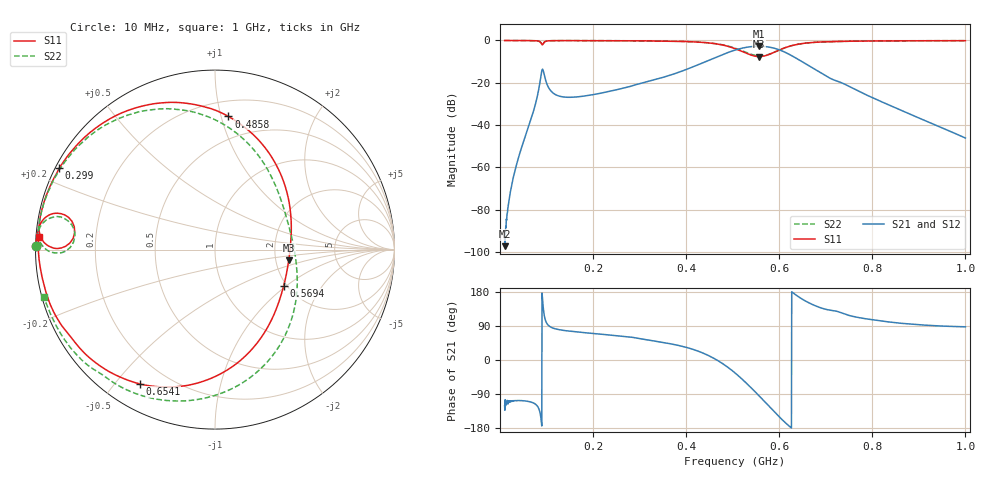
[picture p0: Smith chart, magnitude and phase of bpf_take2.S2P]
!Agilent Technologies,E5071C,MY46101273,A.11.02
!Date: Sun Oct 15 21:04:36 2017
!Data & Calibration Information:
!Freq	S11:SOLT2(ON)	S21:SOLT2(ON)	S12:SOLT2(ON)	S22:SOLT2(ON)
!PortZ  Port1:50+j0  Port2:50+j0
!Above PortZ is port z conversion or system Z0 setting when saving the data.
!When reading, reference impedance value at option line is always used.
# Hz S dB R 50
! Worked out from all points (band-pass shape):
!   1601 points, 10 MHz to 1 GHz, reference 50 ohm
!   highest |S21| = -2.75 dB at 555.7 MHz (marker M1); lowest = -97.3 dB at 10.62 MHz (marker M2)
!   |S21| within 3 dB of the highest: 489.4 MHz to 614 MHz (124.6 MHz wide, 22.6 % of centre)
!   lowest |S11| = -7.6 dB at 557 MHz (marker M3), VSWR 2.42, Z = 118 - j16.9 ohm
!   |S11| at or under -10 dB: nowhere
!   |S22| runs from -7.3 to 0.0 dB; largest |S21 - S12| = 0.0027
!   S11 on the Smith chart (normalised r, x): 10 MHz: 0.00, +0.01; 299 MHz: 0.01, +0.25; 485.8 MHz: 0.32, +1.06; 569.4 MHz: 1.92, -0.96; 654.1 MHz: 0.10, -0.58; 1 GHz: 0.01, +0.04
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1e7  -0.04 178.9  -93.41 -120.8  -96.05 -139.6  -0.02 179.0
1.061875e7  -0.04 178.8  -97.29 -132.6  -92.86 -104.5  -0.02 179.0
1.7425e7  -0.02 178.4  -78.54 -116.0  -78.76 -107.2  -0.02 178.6
3.35125e7  -0.04 176.9  -60.44 -107.0  -60.41 -107.2  -0.03 177.5
7.31125e7  -0.12 172.3  -32.63 -114.1  -32.65 -114.1  -0.11 173.4
9.04375e7  -2.00 170.7  -13.95 176.8  -13.97 176.7  -2.04 172.1
1.189e8  -0.10 172.5  -25.57 82.3  -25.59 82.2  -0.09 174.5
1.752062e8  -0.09 166.7  -26.47 72.8  -26.47 72.8  -0.09 169.7
2.989562e8  -0.18 152.4  -20.55 56.6  -20.57 56.7  -0.17 157.6
3.404125e8  -0.28 145.3  -18.10 48.3  -18.11 48.5  -0.25 151.4
4.202312e8  -0.73 123.6  -12.00 25.9  -12.00 25.7  -0.67 131.7
4.858188e8  -2.55 84.2  -6.04 -15.8  -6.07 -15.6  -2.43 95.5
5.05e8  -3.88 65.2  -4.57 -34.0  -4.58 -33.8  -3.66 79.0
5.557375e8  -7.64 -6.2  -2.75 -93.3  -2.74 -93.4  -7.28 19.2
5.56975e8  -7.64 -8.2  -2.75 -94.8  -2.74 -95.0  -7.30 17.4
5.6935e8  -7.27 -27.9  -2.90 -110.7  -2.90 -110.8  -7.08 -1.0
6.033812e8  -4.23 -73.8  -4.72 -154.0  -4.74 -154.0  -4.25 -49.9
6.541188e8  -1.33 -119.3  -10.71 157.2  -10.70 157.0  -1.35 -100.5
6.702062e8  -0.99 -128.6  -12.85 147.1  -12.85 146.8  -0.99 -110.6
7.426e8  -0.42 -153.6  -20.91 120.4  -20.99 120.6  -0.40 -136.7
8.354125e8  -0.23 -169.5  -30.50 100.4  -30.48 100.4  -0.18 -152.0
1e9  -0.13 175.8  -46.16 87.5  -46.18 87.9  -0.11 -164.6
